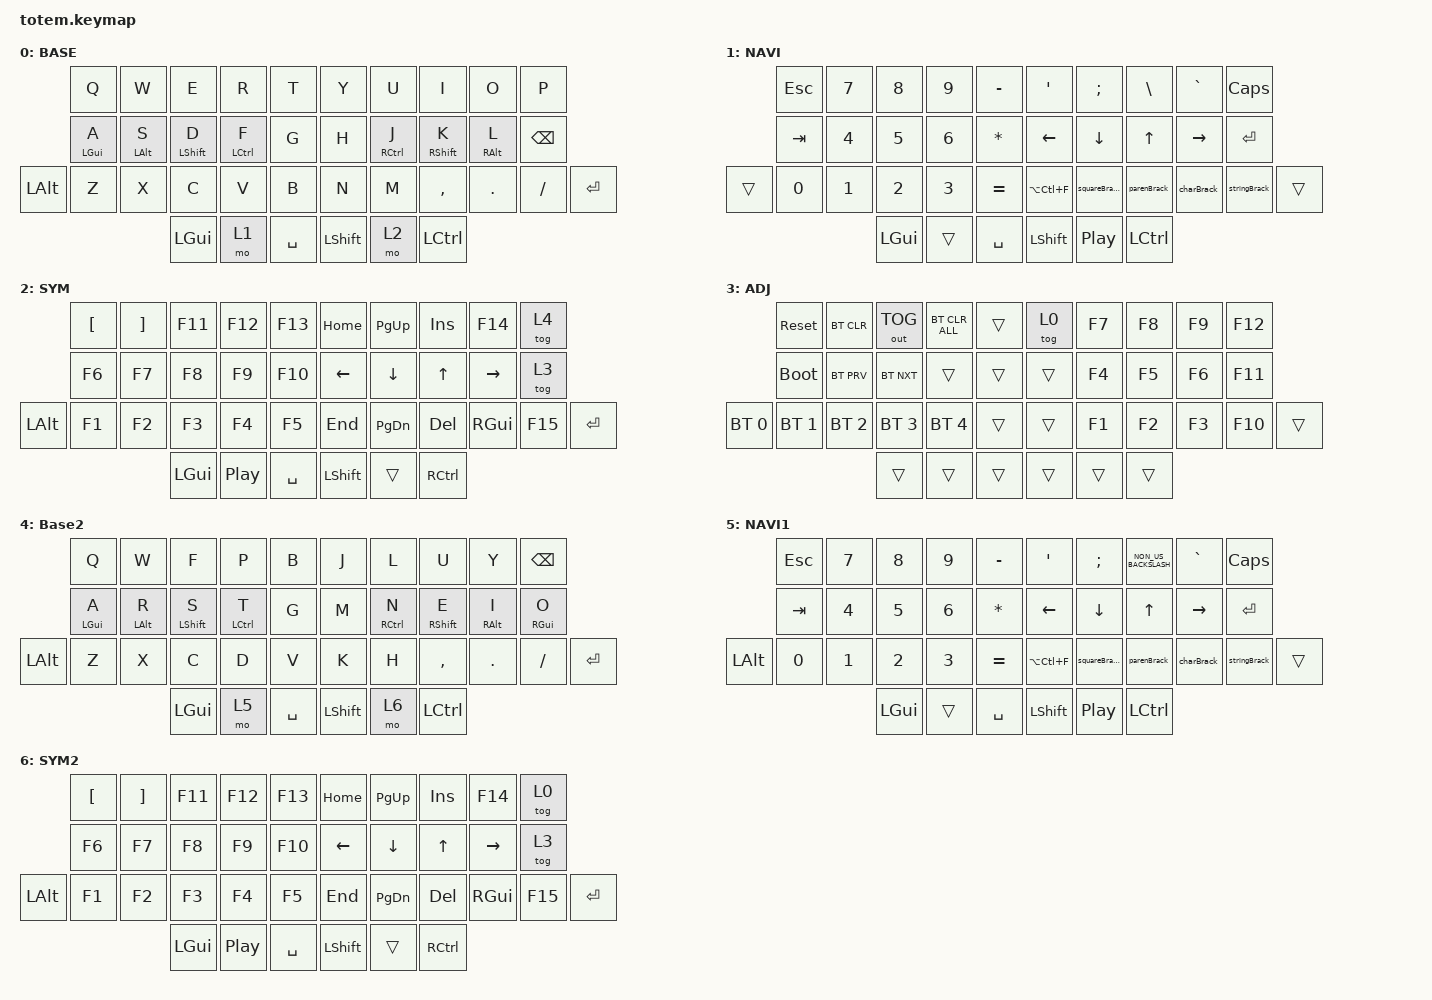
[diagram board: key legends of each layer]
//
//                                                        ▀▀▀▀▀     ▀▀▀▀▀          ▀▀█▀▀
//                                                        ▄▀▀▀▄  ▄  ▄▀▀▀▄  ▄  ▄▀▀▀▄  █  ▄▀▀▀▄
//                                                        █   █  █  █   █  █  █   █  █  █   █
//                                                         ▀▀▀   █   ▀▀▀   █   ▀▀▀   ▀   ▀▀▀
//                                                               █      ▄▄▄█▄▄▄    █   █  
//                                                               ▀      █  █  █     █▄█
//                                                             ▀▀▀▀▀    █  █  █      ▀
//                                                                      ▀  ▀  ▀
//
// ▄▄▄▄▄▄▄▄▄▄▄▄▄▄▄▄▄▄▄▄▄▄▄▄▄▄▄▄▄▄▄▄▄▄▄▄▄▄▄▄▄▄▄▄▄▄▄▄▄▄▄▄▄▄▄▄▄▄▄▄▄▄▄▄▄▄▄▄▄▄▄▄▄▄▄▄▄▄▄▄▄▄▄▄▄▄▄▄▄▄▄▄▄▄▄▄▄▄▄▄▄▄▄▄▄▄▄▄▄▄▄▄▄▄▄▄▄▄▄▄▄▄▄▄▄▄▄▄▄▄▄▄▄▄▄▄▄▄▄▄▄▄▄▄▄▄▄▄▄

#include <behaviors.dtsi>
#include <dt-bindings/zmk/bt.h>
#include <dt-bindings/zmk/keys.h>
#include <dt-bindings/zmk/outputs.h>

#define BASE 0
#define NAV  1
#define SYM  2
#define ADJ  3
#define TVP1 4
#define TVP2 5

&mt {
    quick-tap-ms = <100>;
    global-quick-tap;
    flavor = "tap-preferred";
    tapping-term-ms = <170>;
};

/ {
    combos { compatible = "zmk,combos"; };

    macros {
        squareBrack: squareBrack {
            compatible = "zmk,behavior-macro";
            #binding-cells = <0>;
            bindings =
                <&macro_tap>,
                <&kp LEFT_BRACKET &kp RIGHT_BRACKET &kp LEFT_ARROW>;

            label = "SQUAREBRACK";
        };

        parenBrack: parenBrack {
            compatible = "zmk,behavior-macro";
            #binding-cells = <0>;
            bindings = <&macro_tap>, <&kp LPAR &kp RPAR &kp LEFT>;

            label = "PARENBRACK";
        };

        charBrack: charBrack {
            compatible = "zmk,behavior-macro";
            #binding-cells = <0>;
            bindings = <&macro_tap>, <&kp SQT &kp SQT &kp LEFT_ARROW>;

            label = "CHARBRACK";
        };

        stringBrack: stringBrack {
            compatible = "zmk,behavior-macro";
            #binding-cells = <0>;
            bindings =
                <&macro_tap>,
                <&kp DOUBLE_QUOTES &kp DOUBLE_QUOTES &kp LEFT_ARROW>;

            label = "STRINGBRACK";
        };
    };

    keymap {
        compatible = "zmk,keymap";

        // ▄▄▄▄▄▄▄▄▄▄▄▄▄▄▄▄▄▄▄▄▄▄▄▄▄▄▄▄▄▄▄▄▄▄▄▄▄▄▄▄▄▄▄▄▄▄▄▄▄▄▄▄▄▄▄▄▄▄▄▄▄▄▄▄▄▄▄▄▄▄▄▄▄▄▄▄▄▄▄▄▄▄▄▄▄▄▄▄▄▄▄▄▄▄▄▄▄▄▄▄▄▄▄▄▄▄▄▄▄▄▄▄▄▄▄▄▄▄▄▄▄▄▄▄▄▄▄▄▄▄▄▄▄▄▄▄▄▄▄▄▄▄▄▄▄▄▄▄▄

        QWERTY {
            // ┏━━━━━━━━━━━━━━━━━━━━━━━━━━━━━━━━━━━━━━━┓

            label = "BASE";

            // ┗━━━━━━━━━━━━━━━━━━━━━━━━━━━━━━━━━━━━━━━┛
            //             ┏━━━━━━━━━━━┳━━━━━━━━━━━┳━━━━━━━━━━━┳━━━━━━━━━━━┳━━━━━━━━━━━┓   ┏━━━━━━━━━━━┳━━━━━━━━━━━┳━━━━━━━━━━━┳━━━━━━━━━━━┳━━━━━━━━━━━┓
            //             ┃     Q     ┃     W     ┃     F     ┃     P     ┃     G     ┃   ┃     J     ┃     L     ┃     U     ┃     Y     ┃     ;     ┃
            //             ┣━━━━━━━━━━━╋━━━━━━━━━━━╋━━━━━━━━━━━╋━━━━━━━━━━━╋━━━━━━━━━━━┫   ┣━━━━━━━━━━━╋━━━━━━━━━━━╋━━━━━━━━━━━╋━━━━━━━━━━━╋━━━━━━━━━━━┫
            //             ┃     A     ┃     R     ┃     S     ┃     T     ┃     D     ┃   ┃     H     ┃     N     ┃     E     ┃     I     ┃     O     ┃
            // ┏━━━━━━━━━━━╋━━━━━━━━━━━╋━━━━━━━━━━━╋━━━━━━━━━━━╋━━━━━━━━━━━╋━━━━━━━━━━━┫   ┣━━━━━━━━━━━╋━━━━━━━━━━━╋━━━━━━━━━━━╋━━━━━━━━━━━╋━━━━━━━━━━━╋━━━━━━━━━━━┓
            // ┃     Q     ┃     Z     ┃     X     ┃     C     ┃     V     ┃     B     ┃   ┃     K     ┃     M     ┃     ,     ┃     .     ┃     /     ┃     \     ┃
            // ┗━━━━━━━━━━━┻━━━━━━━━━━━┻━━━━━━━━━━━╋━━━━━━━━━━━╋━━━━━━━━━━━╋━━━━━━━━━━━┫   ┣━━━━━━━━━━━╋━━━━━━━━━━━╋━━━━━━━━━━━╋━━━━━━━━━━━┻━━━━━━━━━━━┻━━━━━━━━━━━┛
            //                                     ┃    DEL    ┃    TAB    ┃    SPC    ┃   ┃   ENTER   ┃           ┃   BSPC    ┃
            //                                     ┗━━━━━━━━━━━┻━━━━━━━━━━━┻━━━━━━━━━━━┛   ┗━━━━━━━━━━━┻━━━━━━━━━━━┻━━━━━━━━━━━┛

            bindings = <
              &kp Q       &kp W       &kp E             &kp R               &kp T        &kp Y           &kp U                &kp I              &kp O       &kp P
              &mt LGUI A  &mt LALT S  &mt LEFT_SHIFT D  &mt LEFT_CONTROL F  &kp G        &kp H           &mt RIGHT_CONTROL J  &mt RIGHT_SHIFT K  &mt RALT L  &kp BACKSPACE
&kp LEFT_ALT  &kp Z       &kp X       &kp C             &kp V               &kp B        &kp N           &kp M                &kp COMMA          &kp PERIOD  &kp FSLH       &kp ENTER
                                      &kp LEFT_GUI      &mo 1               &kp SPACE    &kp LEFT_SHIFT  &mo 2                &kp LEFT_CONTROL
            >;
        };

        QwertyDN {
            // ┏━━━━━━━━━━━━━━━━━━━━━━━━━━━━━━━━━━━━━━━┓

            label = "NAVI";

            // ┗━━━━━━━━━━━━━━━━━━━━━━━━━━━━━━━━━━━━━━━┛
            //             ┏━━━━━━━━━━━┳━━━━━━━━━━━┳━━━━━━━━━━━┳━━━━━━━━━━━┳━━━━━━━━━━━┓   ┏━━━━━━━━━━━┳━━━━━━━━━━━┳━━━━━━━━━━━┳━━━━━━━━━━━┳━━━━━━━━━━━┓
            //             ┃           ┃           ┃     UP    ┃           ┃     {     ┃   ┃     }     ┃     7     ┃     8     ┃     9     ┃     +     ┃
            //             ┣━━━━━━━━━━━╋━━━━━━━━━━━╋━━━━━━━━━━━╋━━━━━━━━━━━╋━━━━━━━━━━━┫   ┣━━━━━━━━━━━╋━━━━━━━━━━━╋━━━━━━━━━━━╋━━━━━━━━━━━╋━━━━━━━━━━━┫
            //             ┃   SHIFT   ┃   LEFT    ┃    DOWN   ┃   RIGHT   ┃     [     ┃   ┃     ]     ┃     4     ┃     5     ┃     6     ┃     -     ┃
            // ┏━━━━━━━━━━━╋━━━━━━━━━━━╋━━━━━━━━━━━╋━━━━━━━━━━━╋━━━━━━━━━━━╋━━━━━━━━━━━┫   ┣━━━━━━━━━━━╋━━━━━━━━━━━╋━━━━━━━━━━━╋━━━━━━━━━━━╋━━━━━━━━━━━╋━━━━━━━━━━━┓
            // ┃           ┃           ┃   P UP    ┃  C LOCK   ┃  P DOWN   ┃     (     ┃   ┃     )     ┃     1     ┃     2     ┃     3     ┃     *     ┃           ┃
            // ┗━━━━━━━━━━━┻━━━━━━━━━━━┻━━━━━━━━━━━╋━━━━━━━━━━━╋━━━━━━━━━━━╋━━━━━━━━━━━┫   ┣━━━━━━━━━━━╋━━━━━━━━━━━╋━━━━━━━━━━━╋━━━━━━━━━━━┻━━━━━━━━━━━┻━━━━━━━━━━━┛
            //                                     ┃           ┃    TAB    ┃    SPC    ┃   ┃    DEL    ┃     0     ┃           ┃
            //                                     ┗━━━━━━━━━━━┻━━━━━━━━━━━┻━━━━━━━━━━━┛   ┗━━━━━━━━━━━┻━━━━━━━━━━━┻━━━━━━━━━━━┛

            bindings = <
        &kp ESC  &kp N7        &kp N8        &kp N9        &kp MINUS       &kp SQT         &kp SEMICOLON     &kp BACKSLASH     &kp GRAVE   &kp CAPSLOCK
        &kp TAB  &kp NUMBER_4  &kp N5        &kp NUMBER_6  &kp ASTERISK    &kp LEFT_ARROW  &kp DOWN          &kp UP_ARROW      &kp RIGHT   &kp ENTER
&trans  &kp N0   &kp NUMBER_1  &kp NUMBER_2  &kp NUMBER_3  &kp EQUAL       &kp LA(LC(F))   &squareBrack      &parenBrack       &charBrack  &stringBrack  &trans
                               &kp LEFT_GUI  &trans        &kp SPACE       &kp LEFT_SHIFT  &kp C_PLAY_PAUSE  &kp LEFT_CONTROL
            >;
        };

        QwertyUP {
            // ┏━━━━━━━━━━━━━━━━━━━━━━━━━━━━━━━━━━━━━━━┓

            label = "SYM";

            // ┗━━━━━━━━━━━━━━━━━━━━━━━━━━━━━━━━━━━━━━━┛
            //             ┏━━━━━━━━━━━┳━━━━━━━━━━━┳━━━━━━━━━━━┳━━━━━━━━━━━┳━━━━━━━━━━━┓   ┏━━━━━━━━━━━┳━━━━━━━━━━━┳━━━━━━━━━━━┳━━━━━━━━━━━┳━━━━━━━━━━━┓
            //             ┃     !     ┃     @     ┃     #     ┃     $     ┃     %     ┃   ┃     ˆ     ┃     &     ┃     Ü     ┃     '     ┃     "     ┃
            //             ┣━━━━━━━━━━━╋━━━━━━━━━━━╋━━━━━━━━━━━╋━━━━━━━━━━━╋━━━━━━━━━━━┫   ┣━━━━━━━━━━━╋━━━━━━━━━━━╋━━━━━━━━━━━╋━━━━━━━━━━━╋━━━━━━━━━━━┫
            //             ┃     Ä     ┃           ┃    SZ     ┃           ┃           ┃   ┃   MUTE    ┃   YEN     ┃   EURO    ┃  POUND    ┃     Ö     ┃
            // ┏━━━━━━━━━━━╋━━━━━━━━━━━╋━━━━━━━━━━━╋━━━━━━━━━━━╋━━━━━━━━━━━╋━━━━━━━━━━━┫   ┣━━━━━━━━━━━╋━━━━━━━━━━━╋━━━━━━━━━━━╋━━━━━━━━━━━╋━━━━━━━━━━━╋━━━━━━━━━━━┓
            // ┃           ┃  EMAIL1   ┃  EMAIL2   ┃           ┃           ┃           ┃   ┃   VOL-    ┃   VOL+    ┃   LAST    ┃   NEXT    ┃     \     ┃           ┃
            // ┗━━━━━━━━━━━┻━━━━━━━━━━━┻━━━━━━━━━━━╋━━━━━━━━━━━╋━━━━━━━━━━━╋━━━━━━━━━━━┫   ┣━━━━━━━━━━━╋━━━━━━━━━━━╋━━━━━━━━━━━╋━━━━━━━━━━━┻━━━━━━━━━━━┻━━━━━━━━━━━┛
            //                                     ┃           ┃    GIF    ┃    ADJ    ┃   ┃           ┃           ┃           ┃
            //                                     ┗━━━━━━━━━━━┻━━━━━━━━━━━┻━━━━━━━━━━━┛   ┗━━━━━━━━━━━┻━━━━━━━━━━━┻━━━━━━━━━━━┛

            bindings = <
              &kp LEFT_BRACKET  &kp RIGHT_BRACKET  &kp F11       &kp F12   &kp F13      &kp HOME        &kp PAGE_UP    &kp INS            &kp F14        &tog 4
              &kp F6            &kp F7             &kp F8        &kp F9    &kp F10      &kp LEFT_ARROW  &kp DOWN       &kp UP_ARROW       &kp RIGHT      &tog 3
&kp LEFT_ALT  &kp F1            &kp F2             &kp F3        &kp F4    &kp F5       &kp END         &kp PAGE_DOWN  &kp DEL            &kp RIGHT_GUI  &kp F15  &kp ENTER
                                                   &kp LEFT_GUI  &kp C_PP  &kp SPACE    &kp LEFT_SHIFT  &trans         &kp RIGHT_CONTROL
            >;
        };

        adjust_layer {
            // ┏━━━━━━━━━━━━━━━━━━━━━━━━━━━━━━━━━━━━━━━┓

            label = "ADJ";

            // ┗━━━━━━━━━━━━━━━━━━━━━━━━━━━━━━━━━━━━━━━┛
            //             ┏━━━━━━━━━━━┳━━━━━━━━━━━┳━━━━━━━━━━━┳━━━━━━━━━━━┳━━━━━━━━━━━┓   ┏━━━━━━━━━━━┳━━━━━━━━━━━┳━━━━━━━━━━━┳━━━━━━━━━━━┳━━━━━━━━━━━┓
            //             ┃   RESET   ┃ BT CLEAR  ┃  OUT TOG  ┃           ┃           ┃   ┃           ┃    F7     ┃    F8     ┃    F9     ┃    F12    ┃
            //             ┣━━━━━━━━━━━╋━━━━━━━━━━━╋━━━━━━━━━━━╋━━━━━━━━━━━╋━━━━━━━━━━━┫   ┣━━━━━━━━━━━╋━━━━━━━━━━━╋━━━━━━━━━━━╋━━━━━━━━━━━╋━━━━━━━━━━━┫
            //             ┃ BOOTLOAD  ┃ BT NEXT   ┃           ┃           ┃           ┃   ┃           ┃    F4     ┃    F5     ┃    F6     ┃    F11    ┃
            // ┏━━━━━━━━━━━╋━━━━━━━━━━━╋━━━━━━━━━━━╋━━━━━━━━━━━╋━━━━━━━━━━━╋━━━━━━━━━━━┫   ┣━━━━━━━━━━━╋━━━━━━━━━━━╋━━━━━━━━━━━╋━━━━━━━━━━━╋━━━━━━━━━━━╋━━━━━━━━━━━┓
            // ┃           ┃           ┃ BT PREV   ┃           ┃           ┃           ┃   ┃           ┃    F1     ┃    F2     ┃    F3     ┃    F10    ┃           ┃
            // ┗━━━━━━━━━━━┻━━━━━━━━━━━┻━━━━━━━━━━━╋━━━━━━━━━━━╋━━━━━━━━━━━╋━━━━━━━━━━━┫   ┣━━━━━━━━━━━╋━━━━━━━━━━━╋━━━━━━━━━━━╋━━━━━━━━━━━┻━━━━━━━━━━━┻━━━━━━━━━━━┛
            //                                     ┃           ┃           ┃           ┃   ┃           ┃           ┃           ┃
            //                                     ┗━━━━━━━━━━━┻━━━━━━━━━━━┻━━━━━━━━━━━┛   ┗━━━━━━━━━━━┻━━━━━━━━━━━┻━━━━━━━━━━━┛

            bindings = <
              &sys_reset    &bt BT_CLR    &out OUT_TOG  &bt BT_CLR_ALL  &trans    &tog 0  &kp F7  &kp F8  &kp F9  &kp F12
              &bootloader   &bt BT_PRV    &bt BT_NXT    &trans          &trans    &trans  &kp F4  &kp F5  &kp F6  &kp F11
&bt BT_SEL 0  &bt BT_SEL 1  &bt BT_SEL 2  &bt BT_SEL 3  &bt BT_SEL 4    &trans    &trans  &kp F1  &kp F2  &kp F3  &kp F10  &trans
                                          &trans        &trans          &trans    &trans  &trans  &trans
            >;
        };

        ColeMAKDH {
            label = "Base2";
            bindings = <
              &kp Q       &kp W       &kp F             &kp P               &kp B        &kp J           &kp L                &kp U              &kp Y       &kp BACKSPACE
              &mt LGUI A  &mt LALT R  &mt LEFT_SHIFT S  &mt LEFT_CONTROL T  &kp G        &kp M           &mt RIGHT_CONTROL N  &mt RIGHT_SHIFT E  &mt RALT I  &mt RGUI O
&kp LEFT_ALT  &kp Z       &kp X       &kp C             &kp D               &kp V        &kp K           &kp H                &kp COMMA          &kp PERIOD  &kp FSLH       &kp ENTER
                                      &kp LEFT_GUI      &mo 5               &kp SPACE    &kp LEFT_SHIFT  &mo 6                &kp LEFT_CONTROL
            >;
        };

        ColeMDN {
            label = "NAVI1";
            bindings = <
              &kp ESC  &kp N7        &kp N8        &kp N9        &kp MINUS       &kp SQT         &kp SEMICOLON     &kp NON_US_BACKSLASH  &kp GRAVE   &kp CAPSLOCK
              &kp TAB  &kp NUMBER_4  &kp N5        &kp NUMBER_6  &kp ASTERISK    &kp LEFT_ARROW  &kp DOWN          &kp UP_ARROW          &kp RIGHT   &kp ENTER
&kp LEFT_ALT  &kp N0   &kp NUMBER_1  &kp NUMBER_2  &kp NUMBER_3  &kp EQUAL       &kp LA(LC(F))   &squareBrack      &parenBrack           &charBrack  &stringBrack  &trans
                                     &kp LEFT_GUI  &trans        &kp SPACE       &kp LEFT_SHIFT  &kp C_PLAY_PAUSE  &kp LEFT_CONTROL
            >;
        };

        ColeMUP {
            label = "SYM2";
            bindings = <
              &kp LEFT_BRACKET  &kp RIGHT_BRACKET  &kp F11       &kp F12   &kp F13      &kp HOME        &kp PAGE_UP    &kp INS            &kp F14        &tog 0
              &kp F6            &kp F7             &kp F8        &kp F9    &kp F10      &kp LEFT_ARROW  &kp DOWN       &kp UP_ARROW       &kp RIGHT      &tog 3
&kp LEFT_ALT  &kp F1            &kp F2             &kp F3        &kp F4    &kp F5       &kp END         &kp PAGE_DOWN  &kp DEL            &kp RIGHT_GUI  &kp F15  &kp ENTER
                                                   &kp LEFT_GUI  &kp C_PP  &kp SPACE    &kp LEFT_SHIFT  &trans         &kp RIGHT_CONTROL
            >;
        };
    };
};
